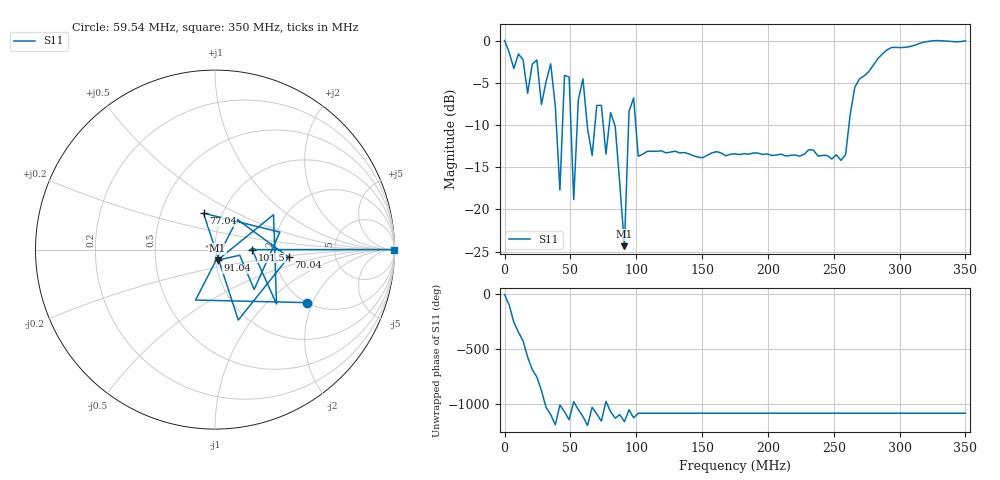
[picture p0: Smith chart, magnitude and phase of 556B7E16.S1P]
!File created by NanoVNA
# Hz S RI R 50
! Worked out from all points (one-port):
!   101 points, 50 kHz to 350 MHz, reference 50 ohm
!   lowest |S11| = -24.3 dB at 91.04 MHz (marker M1), VSWR 1.13, Z = 51.1 - j6.05 ohm
!   |S11| at or under -10 dB: 62.79 MHz to 68.67 MHz (5.879 MHz wide, 8.94 % of centre); 83.74 MHz to 94.19 MHz (10.45 MHz wide, 11.7 % of centre); 99.66 MHz to 261.6 MHz (161.9 MHz wide, 89.6 % of centre) (the widest 3 of 6)
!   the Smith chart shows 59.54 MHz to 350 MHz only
!   S11 on the Smith chart (normalised r, x): 59.54 MHz: 2.01, -1.83; 70.04 MHz: 2.38, -0.24; 77.04 MHz: 0.81, +0.35; 91.04 MHz: 1.02, -0.12; 101.5 MHz: 1.52, +0.00; 350 MHz: open
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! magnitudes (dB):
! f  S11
! 50 kHz  0.0
! 17.55 MHz  -6.2
! 24.55 MHz  -2.3
! 28.05 MHz  -7.6
! 35.05 MHz  -2.8
! 42.04 MHz  -17.7
! 45.54 MHz  -4.1
! 49.04 MHz  -4.3
! 52.54 MHz  -18.8
! 56.04 MHz  -7.0
! 59.54 MHz  -4.5
! 66.54 MHz  -13.6
! 70.04 MHz  -7.7
! 77.04 MHz  -13.4
! 80.54 MHz  -8.5
! 87.54 MHz  -17.0
! 91.04 MHz  -24.3
! 94.54 MHz  -8.4
! 98.04 MHz  -6.8
! 101.5 MHz  -13.7
! 133 MHz  -13.3
! 175 MHz  -13.4
! 220.5 MHz  -13.6
! 255.5 MHz  -14.2
! 262.5 MHz  -8.8
! 269.5 MHz  -4.6
! 308 MHz  -0.7
! 350 MHz  0.0
